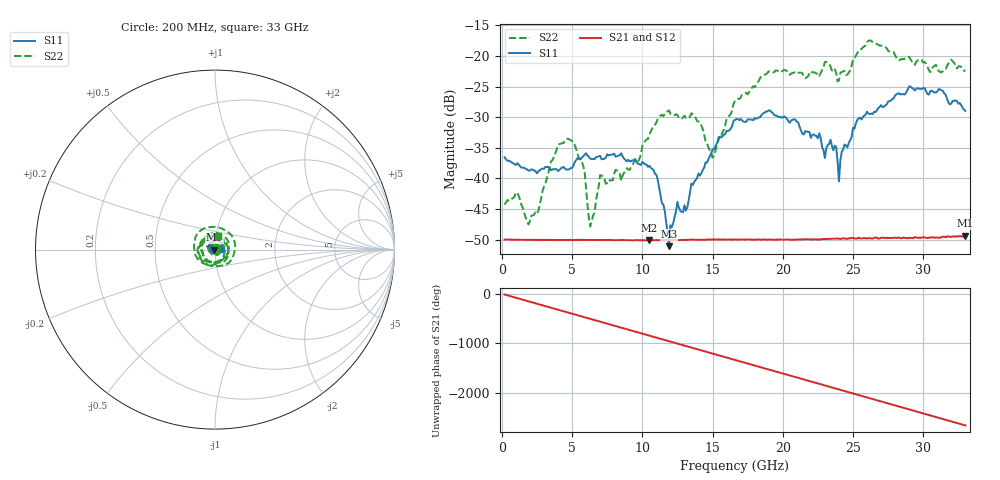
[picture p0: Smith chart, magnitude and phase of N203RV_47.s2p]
# GHZ S RI R 50
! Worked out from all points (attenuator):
!   329 points, 200 MHz to 33 GHz, reference 50 ohm
!   highest |S21| = -49.35 dB at 33 GHz (marker M1); lowest = -50.1 dB at 10.5 GHz (marker M2)
!   lowest |S11| = -51.0 dB at 11.9 GHz (marker M3), VSWR 1.01, Z = 49.7 + j0.0159 ohm
!   |S11| at or under -10 dB: start of sweep to end of sweep
!   |S22| runs from -47.8 to -17.5 dB; largest |S21 - S12| = 7.2e-05
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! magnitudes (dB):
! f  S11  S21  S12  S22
! 200 MHz  -36.5  -50.0  -50.0  -44.3
! 1.1 GHz  -37.5  -50.0  -50.0  -42.4
! 1.9 GHz  -38.7  -50.0  -50.0  -47.5
! 4 GHz  -38.8  -50.0  -50.0  -34.5
! 5.7 GHz  -36.6  -50.0  -50.0  -37.3
! 6.3 GHz  -36.8  -50.0  -50.0  -47.8
! 7 GHz  -36.3  -50.0  -50.0  -39.4
! 8.5 GHz  -35.9  -50.0  -50.0  -40.4
! 10.5 GHz  -37.9  -50.1  -50.1  -32.9
! 11.2 GHz  -41.5  -50.1  -50.0  -29.9
! 11.9 GHz  -51.0  -50.1  -50.0  -28.9
! 12.5 GHz  -43.8  -50.1  -50.0  -29.7
! 13.1 GHz  -45.3  -50.0  -50.0  -30.1
! 15 GHz  -35.2  -49.9  -49.9  -36.6
! 16.6 GHz  -30.4  -49.9  -49.9  -27.4
! 22.1 GHz  -32.9  -49.9  -49.9  -22.7
! 23.8 GHz  -34.9  -49.8  -49.8  -22.7
! 24 GHz  -40.5  -49.8  -49.8  -24.0
! 24.2 GHz  -35.6  -49.8  -49.8  -22.6
! 25.3 GHz  -30.5  -49.8  -49.8  -19.6
! 27.6 GHz  -27.4  -49.7  -49.7  -19.3
! 33 GHz  -29.0  -49.4  -49.4  -22.5
